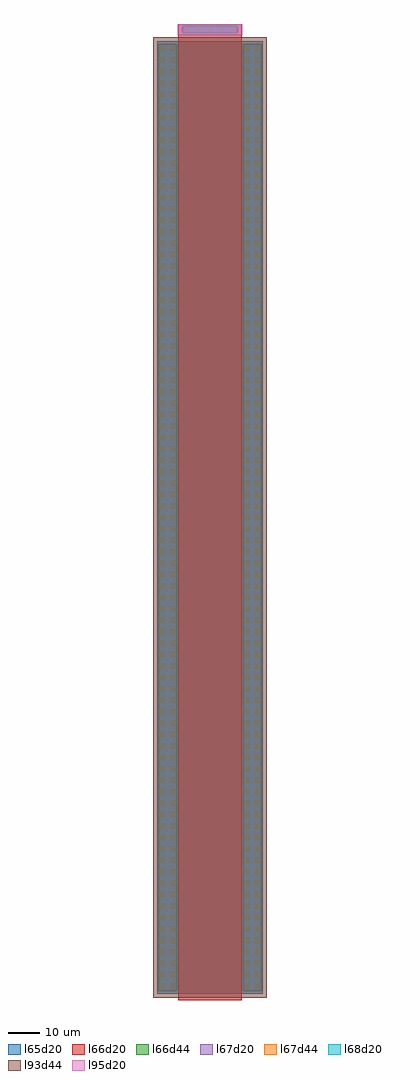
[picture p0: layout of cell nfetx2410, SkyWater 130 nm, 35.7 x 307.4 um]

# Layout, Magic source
magic
tech sky130a
<< l66d20 >>
rect 660 -200 2660 30200
rect 660 30200 2660 30530
<< l66d44 >>
rect 65 15275 235 15445
rect 425 15275 595 15445
rect 2725 15275 2895 15445
rect 3085 15275 3255 15445
rect 65 22835 235 23005
rect 425 22835 595 23005
rect 2725 22835 2895 23005
rect 3085 22835 3255 23005
rect 65 24275 235 24445
rect 65 24635 235 24805
rect 65 24995 235 25165
rect 65 25355 235 25525
rect 65 25715 235 25885
rect 65 26075 235 26245
rect 65 26435 235 26605
rect 65 26795 235 26965
rect 65 27155 235 27325
rect 65 27515 235 27685
rect 65 27875 235 28045
rect 65 28235 235 28405
rect 65 28595 235 28765
rect 65 28955 235 29125
rect 65 29315 235 29485
rect 65 29675 235 29845
rect 65 23195 235 23365
rect 425 23195 595 23365
rect 425 23555 595 23725
rect 425 23915 595 24085
rect 425 24275 595 24445
rect 425 24635 595 24805
rect 425 24995 595 25165
rect 425 25355 595 25525
rect 425 25715 595 25885
rect 425 26075 595 26245
rect 425 26435 595 26605
rect 425 26795 595 26965
rect 425 27155 595 27325
rect 425 27515 595 27685
rect 425 27875 595 28045
rect 425 28235 595 28405
rect 425 28595 595 28765
rect 425 28955 595 29125
rect 425 29315 595 29485
rect 425 29675 595 29845
rect 65 23555 235 23725
rect 2725 23195 2895 23365
rect 2725 23555 2895 23725
rect 2725 23915 2895 24085
rect 2725 24275 2895 24445
rect 2725 24635 2895 24805
rect 2725 24995 2895 25165
rect 2725 25355 2895 25525
rect 2725 25715 2895 25885
rect 2725 26075 2895 26245
rect 2725 26435 2895 26605
rect 2725 26795 2895 26965
rect 2725 27155 2895 27325
rect 2725 27515 2895 27685
rect 2725 27875 2895 28045
rect 2725 28235 2895 28405
rect 2725 28595 2895 28765
rect 2725 28955 2895 29125
rect 2725 29315 2895 29485
rect 2725 29675 2895 29845
rect 65 23915 235 24085
rect 3085 23195 3255 23365
rect 3085 23555 3255 23725
rect 3085 23915 3255 24085
rect 3085 24275 3255 24445
rect 3085 24635 3255 24805
rect 3085 24995 3255 25165
rect 3085 25355 3255 25525
rect 3085 25715 3255 25885
rect 3085 26075 3255 26245
rect 3085 26435 3255 26605
rect 3085 26795 3255 26965
rect 3085 27155 3255 27325
rect 3085 27515 3255 27685
rect 3085 27875 3255 28045
rect 3085 28235 3255 28405
rect 3085 28595 3255 28765
rect 3085 28955 3255 29125
rect 3085 29315 3255 29485
rect 3085 29675 3255 29845
rect 855 30280 1025 30450
rect 1215 30280 1385 30450
rect 1575 30280 1745 30450
rect 1935 30280 2105 30450
rect 2295 30280 2465 30450
rect 2725 17795 2895 17965
rect 2725 18155 2895 18325
rect 2725 18515 2895 18685
rect 2725 18875 2895 19045
rect 2725 19235 2895 19405
rect 2725 19595 2895 19765
rect 2725 19955 2895 20125
rect 2725 20315 2895 20485
rect 2725 20675 2895 20845
rect 2725 21035 2895 21205
rect 2725 21395 2895 21565
rect 2725 21755 2895 21925
rect 2725 22115 2895 22285
rect 2725 22475 2895 22645
rect 425 16355 595 16525
rect 425 16715 595 16885
rect 425 17075 595 17245
rect 425 17435 595 17605
rect 425 17795 595 17965
rect 425 18155 595 18325
rect 425 18515 595 18685
rect 425 18875 595 19045
rect 425 19235 595 19405
rect 425 19595 595 19765
rect 425 19955 595 20125
rect 425 20315 595 20485
rect 425 20675 595 20845
rect 425 21035 595 21205
rect 425 21395 595 21565
rect 425 21755 595 21925
rect 425 22115 595 22285
rect 425 22475 595 22645
rect 65 17795 235 17965
rect 65 18155 235 18325
rect 65 16355 235 16525
rect 3085 15635 3255 15805
rect 3085 15995 3255 16165
rect 3085 16355 3255 16525
rect 3085 16715 3255 16885
rect 3085 17075 3255 17245
rect 3085 17435 3255 17605
rect 3085 17795 3255 17965
rect 3085 18155 3255 18325
rect 3085 18515 3255 18685
rect 3085 18875 3255 19045
rect 3085 19235 3255 19405
rect 3085 19595 3255 19765
rect 3085 19955 3255 20125
rect 3085 20315 3255 20485
rect 3085 20675 3255 20845
rect 3085 21035 3255 21205
rect 3085 21395 3255 21565
rect 3085 21755 3255 21925
rect 3085 22115 3255 22285
rect 3085 22475 3255 22645
rect 65 18515 235 18685
rect 65 18875 235 19045
rect 65 19235 235 19405
rect 65 19595 235 19765
rect 65 19955 235 20125
rect 65 20315 235 20485
rect 65 20675 235 20845
rect 65 21035 235 21205
rect 65 21395 235 21565
rect 65 21755 235 21925
rect 65 22115 235 22285
rect 65 22475 235 22645
rect 65 16715 235 16885
rect 65 17075 235 17245
rect 65 17435 235 17605
rect 65 15635 235 15805
rect 425 15635 595 15805
rect 425 15995 595 16165
rect 65 15995 235 16165
rect 2725 15635 2895 15805
rect 2725 15995 2895 16165
rect 2725 16355 2895 16525
rect 2725 16715 2895 16885
rect 2725 17075 2895 17245
rect 2725 17435 2895 17605
rect 2725 7715 2895 7885
rect 425 7715 595 7885
rect 3085 7715 3255 7885
rect 65 7715 235 7885
rect 2725 9155 2895 9325
rect 2725 9515 2895 9685
rect 2725 9875 2895 10045
rect 2725 10235 2895 10405
rect 2725 10595 2895 10765
rect 2725 10955 2895 11125
rect 2725 11315 2895 11485
rect 2725 11675 2895 11845
rect 2725 12035 2895 12205
rect 2725 12395 2895 12565
rect 2725 12755 2895 12925
rect 2725 13115 2895 13285
rect 2725 13475 2895 13645
rect 2725 13835 2895 14005
rect 2725 14195 2895 14365
rect 2725 14555 2895 14725
rect 2725 14915 2895 15085
rect 65 14555 235 14725
rect 2725 8075 2895 8245
rect 425 8075 595 8245
rect 425 8435 595 8605
rect 425 8795 595 8965
rect 425 9155 595 9325
rect 425 9515 595 9685
rect 425 9875 595 10045
rect 425 10235 595 10405
rect 425 10595 595 10765
rect 425 10955 595 11125
rect 425 11315 595 11485
rect 425 11675 595 11845
rect 425 12035 595 12205
rect 425 12395 595 12565
rect 425 12755 595 12925
rect 425 13115 595 13285
rect 425 13475 595 13645
rect 425 13835 595 14005
rect 425 14195 595 14365
rect 2725 8435 2895 8605
rect 3085 8075 3255 8245
rect 3085 8435 3255 8605
rect 3085 8795 3255 8965
rect 3085 9155 3255 9325
rect 3085 9515 3255 9685
rect 3085 9875 3255 10045
rect 3085 10235 3255 10405
rect 3085 10595 3255 10765
rect 3085 10955 3255 11125
rect 3085 11315 3255 11485
rect 3085 11675 3255 11845
rect 3085 12035 3255 12205
rect 3085 12395 3255 12565
rect 3085 12755 3255 12925
rect 3085 13115 3255 13285
rect 3085 13475 3255 13645
rect 3085 13835 3255 14005
rect 3085 14195 3255 14365
rect 3085 14555 3255 14725
rect 3085 14915 3255 15085
rect 425 14555 595 14725
rect 425 14915 595 15085
rect 65 14915 235 15085
rect 2725 8795 2895 8965
rect 65 8075 235 8245
rect 65 8435 235 8605
rect 65 8795 235 8965
rect 65 9155 235 9325
rect 65 9515 235 9685
rect 65 9875 235 10045
rect 65 10235 235 10405
rect 65 10595 235 10765
rect 65 10955 235 11125
rect 65 11315 235 11485
rect 65 11675 235 11845
rect 65 12035 235 12205
rect 65 12395 235 12565
rect 65 12755 235 12925
rect 65 13115 235 13285
rect 65 13475 235 13645
rect 65 13835 235 14005
rect 65 14195 235 14365
rect 3085 1595 3255 1765
rect 3085 1955 3255 2125
rect 3085 2315 3255 2485
rect 3085 2675 3255 2845
rect 3085 3035 3255 3205
rect 3085 3395 3255 3565
rect 3085 3755 3255 3925
rect 3085 4115 3255 4285
rect 3085 4475 3255 4645
rect 3085 4835 3255 5005
rect 3085 5195 3255 5365
rect 3085 5555 3255 5725
rect 3085 5915 3255 6085
rect 3085 6275 3255 6445
rect 3085 6635 3255 6805
rect 3085 6995 3255 7165
rect 3085 7355 3255 7525
rect 425 515 595 685
rect 425 875 595 1045
rect 425 1235 595 1405
rect 425 1595 595 1765
rect 425 1955 595 2125
rect 425 2315 595 2485
rect 425 2675 595 2845
rect 425 3035 595 3205
rect 425 3395 595 3565
rect 425 3755 595 3925
rect 425 4115 595 4285
rect 425 4475 595 4645
rect 425 4835 595 5005
rect 425 5195 595 5365
rect 425 5555 595 5725
rect 425 5915 595 6085
rect 425 6275 595 6445
rect 425 6635 595 6805
rect 425 6995 595 7165
rect 425 7355 595 7525
rect 2725 2675 2895 2845
rect 2725 3035 2895 3205
rect 2725 3395 2895 3565
rect 2725 3755 2895 3925
rect 65 155 235 325
rect 65 515 235 685
rect 65 875 235 1045
rect 65 1235 235 1405
rect 65 1595 235 1765
rect 65 1955 235 2125
rect 65 2315 235 2485
rect 65 2675 235 2845
rect 65 3035 235 3205
rect 65 3395 235 3565
rect 65 3755 235 3925
rect 65 4115 235 4285
rect 65 4475 235 4645
rect 65 4835 235 5005
rect 65 5195 235 5365
rect 65 5555 235 5725
rect 65 5915 235 6085
rect 65 6275 235 6445
rect 65 6635 235 6805
rect 65 6995 235 7165
rect 65 7355 235 7525
rect 2725 4115 2895 4285
rect 2725 4475 2895 4645
rect 2725 4835 2895 5005
rect 2725 5195 2895 5365
rect 2725 5555 2895 5725
rect 2725 5915 2895 6085
rect 2725 6275 2895 6445
rect 2725 6635 2895 6805
rect 2725 6995 2895 7165
rect 2725 7355 2895 7525
rect 2725 1235 2895 1405
rect 2725 1595 2895 1765
rect 2725 1955 2895 2125
rect 2725 2315 2895 2485
rect 425 155 595 325
rect 3085 155 3255 325
rect 3085 515 3255 685
rect 3085 875 3255 1045
rect 3085 1235 3255 1405
rect 2725 155 2895 325
rect 2725 515 2895 685
rect 2725 875 2895 1045
<< l67d44 >>
rect 65 15275 235 15445
rect 425 15275 595 15445
rect 2725 15275 2895 15445
rect 3085 15275 3255 15445
rect 65 22835 235 23005
rect 425 22835 595 23005
rect 2725 22835 2895 23005
rect 3085 22835 3255 23005
rect 65 24275 235 24445
rect 65 24635 235 24805
rect 65 24995 235 25165
rect 65 25355 235 25525
rect 65 25715 235 25885
rect 65 26075 235 26245
rect 65 26435 235 26605
rect 65 26795 235 26965
rect 65 27155 235 27325
rect 65 27515 235 27685
rect 65 27875 235 28045
rect 65 28235 235 28405
rect 65 28595 235 28765
rect 65 28955 235 29125
rect 65 29315 235 29485
rect 65 29675 235 29845
rect 65 23195 235 23365
rect 425 23195 595 23365
rect 425 23555 595 23725
rect 425 23915 595 24085
rect 425 24275 595 24445
rect 425 24635 595 24805
rect 425 24995 595 25165
rect 425 25355 595 25525
rect 425 25715 595 25885
rect 425 26075 595 26245
rect 425 26435 595 26605
rect 425 26795 595 26965
rect 425 27155 595 27325
rect 425 27515 595 27685
rect 425 27875 595 28045
rect 425 28235 595 28405
rect 425 28595 595 28765
rect 425 28955 595 29125
rect 425 29315 595 29485
rect 425 29675 595 29845
rect 65 23555 235 23725
rect 2725 23195 2895 23365
rect 2725 23555 2895 23725
rect 2725 23915 2895 24085
rect 2725 24275 2895 24445
rect 2725 24635 2895 24805
rect 2725 24995 2895 25165
rect 2725 25355 2895 25525
rect 2725 25715 2895 25885
rect 2725 26075 2895 26245
rect 2725 26435 2895 26605
rect 2725 26795 2895 26965
rect 2725 27155 2895 27325
rect 2725 27515 2895 27685
rect 2725 27875 2895 28045
rect 2725 28235 2895 28405
rect 2725 28595 2895 28765
rect 2725 28955 2895 29125
rect 2725 29315 2895 29485
rect 2725 29675 2895 29845
rect 65 23915 235 24085
rect 3085 23195 3255 23365
rect 3085 23555 3255 23725
rect 3085 23915 3255 24085
rect 3085 24275 3255 24445
rect 3085 24635 3255 24805
rect 3085 24995 3255 25165
rect 3085 25355 3255 25525
rect 3085 25715 3255 25885
rect 3085 26075 3255 26245
rect 3085 26435 3255 26605
rect 3085 26795 3255 26965
rect 3085 27155 3255 27325
rect 3085 27515 3255 27685
rect 3085 27875 3255 28045
rect 3085 28235 3255 28405
rect 3085 28595 3255 28765
rect 3085 28955 3255 29125
rect 3085 29315 3255 29485
rect 3085 29675 3255 29845
rect 855 30280 1025 30450
rect 1215 30280 1385 30450
rect 1575 30280 1745 30450
rect 1935 30280 2105 30450
rect 2295 30280 2465 30450
rect 2725 17795 2895 17965
rect 2725 18155 2895 18325
rect 2725 18515 2895 18685
rect 2725 18875 2895 19045
rect 2725 19235 2895 19405
rect 2725 19595 2895 19765
rect 2725 19955 2895 20125
rect 2725 20315 2895 20485
rect 2725 20675 2895 20845
rect 2725 21035 2895 21205
rect 2725 21395 2895 21565
rect 2725 21755 2895 21925
rect 2725 22115 2895 22285
rect 2725 22475 2895 22645
rect 425 16355 595 16525
rect 425 16715 595 16885
rect 425 17075 595 17245
rect 425 17435 595 17605
rect 425 17795 595 17965
rect 425 18155 595 18325
rect 425 18515 595 18685
rect 425 18875 595 19045
rect 425 19235 595 19405
rect 425 19595 595 19765
rect 425 19955 595 20125
rect 425 20315 595 20485
rect 425 20675 595 20845
rect 425 21035 595 21205
rect 425 21395 595 21565
rect 425 21755 595 21925
rect 425 22115 595 22285
rect 425 22475 595 22645
rect 65 17795 235 17965
rect 65 18155 235 18325
rect 65 16355 235 16525
rect 3085 15635 3255 15805
rect 3085 15995 3255 16165
rect 3085 16355 3255 16525
rect 3085 16715 3255 16885
rect 3085 17075 3255 17245
rect 3085 17435 3255 17605
rect 3085 17795 3255 17965
rect 3085 18155 3255 18325
rect 3085 18515 3255 18685
rect 3085 18875 3255 19045
rect 3085 19235 3255 19405
rect 3085 19595 3255 19765
rect 3085 19955 3255 20125
rect 3085 20315 3255 20485
rect 3085 20675 3255 20845
rect 3085 21035 3255 21205
rect 3085 21395 3255 21565
rect 3085 21755 3255 21925
rect 3085 22115 3255 22285
rect 3085 22475 3255 22645
rect 65 18515 235 18685
rect 65 18875 235 19045
rect 65 19235 235 19405
rect 65 19595 235 19765
rect 65 19955 235 20125
rect 65 20315 235 20485
rect 65 20675 235 20845
rect 65 21035 235 21205
rect 65 21395 235 21565
rect 65 21755 235 21925
rect 65 22115 235 22285
rect 65 22475 235 22645
rect 65 16715 235 16885
rect 65 17075 235 17245
rect 65 17435 235 17605
rect 65 15635 235 15805
rect 425 15635 595 15805
rect 425 15995 595 16165
rect 65 15995 235 16165
rect 2725 15635 2895 15805
rect 2725 15995 2895 16165
rect 2725 16355 2895 16525
rect 2725 16715 2895 16885
rect 2725 17075 2895 17245
rect 2725 17435 2895 17605
rect 2725 7715 2895 7885
rect 425 7715 595 7885
rect 3085 7715 3255 7885
rect 65 7715 235 7885
rect 2725 9155 2895 9325
rect 2725 9515 2895 9685
rect 2725 9875 2895 10045
rect 2725 10235 2895 10405
rect 2725 10595 2895 10765
rect 2725 10955 2895 11125
rect 2725 11315 2895 11485
rect 2725 11675 2895 11845
rect 2725 12035 2895 12205
rect 2725 12395 2895 12565
rect 2725 12755 2895 12925
rect 2725 13115 2895 13285
rect 2725 13475 2895 13645
rect 2725 13835 2895 14005
rect 2725 14195 2895 14365
rect 2725 14555 2895 14725
rect 2725 14915 2895 15085
rect 65 14555 235 14725
rect 2725 8075 2895 8245
rect 425 8075 595 8245
rect 425 8435 595 8605
rect 425 8795 595 8965
rect 425 9155 595 9325
rect 425 9515 595 9685
rect 425 9875 595 10045
rect 425 10235 595 10405
rect 425 10595 595 10765
rect 425 10955 595 11125
rect 425 11315 595 11485
rect 425 11675 595 11845
rect 425 12035 595 12205
rect 425 12395 595 12565
rect 425 12755 595 12925
rect 425 13115 595 13285
rect 425 13475 595 13645
rect 425 13835 595 14005
rect 425 14195 595 14365
rect 2725 8435 2895 8605
rect 3085 8075 3255 8245
rect 3085 8435 3255 8605
rect 3085 8795 3255 8965
rect 3085 9155 3255 9325
rect 3085 9515 3255 9685
rect 3085 9875 3255 10045
rect 3085 10235 3255 10405
rect 3085 10595 3255 10765
rect 3085 10955 3255 11125
rect 3085 11315 3255 11485
rect 3085 11675 3255 11845
rect 3085 12035 3255 12205
rect 3085 12395 3255 12565
rect 3085 12755 3255 12925
rect 3085 13115 3255 13285
rect 3085 13475 3255 13645
rect 3085 13835 3255 14005
rect 3085 14195 3255 14365
rect 3085 14555 3255 14725
rect 3085 14915 3255 15085
rect 425 14555 595 14725
rect 425 14915 595 15085
rect 65 14915 235 15085
rect 2725 8795 2895 8965
rect 65 8075 235 8245
rect 65 8435 235 8605
rect 65 8795 235 8965
rect 65 9155 235 9325
rect 65 9515 235 9685
rect 65 9875 235 10045
rect 65 10235 235 10405
rect 65 10595 235 10765
rect 65 10955 235 11125
rect 65 11315 235 11485
rect 65 11675 235 11845
rect 65 12035 235 12205
rect 65 12395 235 12565
rect 65 12755 235 12925
rect 65 13115 235 13285
rect 65 13475 235 13645
rect 65 13835 235 14005
rect 65 14195 235 14365
rect 3085 1595 3255 1765
rect 3085 1955 3255 2125
rect 3085 2315 3255 2485
rect 3085 2675 3255 2845
rect 3085 3035 3255 3205
rect 3085 3395 3255 3565
rect 3085 3755 3255 3925
rect 3085 4115 3255 4285
rect 3085 4475 3255 4645
rect 3085 4835 3255 5005
rect 3085 5195 3255 5365
rect 3085 5555 3255 5725
rect 3085 5915 3255 6085
rect 3085 6275 3255 6445
rect 3085 6635 3255 6805
rect 3085 6995 3255 7165
rect 3085 7355 3255 7525
rect 425 515 595 685
rect 425 875 595 1045
rect 425 1235 595 1405
rect 425 1595 595 1765
rect 425 1955 595 2125
rect 425 2315 595 2485
rect 425 2675 595 2845
rect 425 3035 595 3205
rect 425 3395 595 3565
rect 425 3755 595 3925
rect 425 4115 595 4285
rect 425 4475 595 4645
rect 425 4835 595 5005
rect 425 5195 595 5365
rect 425 5555 595 5725
rect 425 5915 595 6085
rect 425 6275 595 6445
rect 425 6635 595 6805
rect 425 6995 595 7165
rect 425 7355 595 7525
rect 2725 2675 2895 2845
rect 2725 3035 2895 3205
rect 2725 3395 2895 3565
rect 2725 3755 2895 3925
rect 65 155 235 325
rect 65 515 235 685
rect 65 875 235 1045
rect 65 1235 235 1405
rect 65 1595 235 1765
rect 65 1955 235 2125
rect 65 2315 235 2485
rect 65 2675 235 2845
rect 65 3035 235 3205
rect 65 3395 235 3565
rect 65 3755 235 3925
rect 65 4115 235 4285
rect 65 4475 235 4645
rect 65 4835 235 5005
rect 65 5195 235 5365
rect 65 5555 235 5725
rect 65 5915 235 6085
rect 65 6275 235 6445
rect 65 6635 235 6805
rect 65 6995 235 7165
rect 65 7355 235 7525
rect 2725 4115 2895 4285
rect 2725 4475 2895 4645
rect 2725 4835 2895 5005
rect 2725 5195 2895 5365
rect 2725 5555 2895 5725
rect 2725 5915 2895 6085
rect 2725 6275 2895 6445
rect 2725 6635 2895 6805
rect 2725 6995 2895 7165
rect 2725 7355 2895 7525
rect 2725 1235 2895 1405
rect 2725 1595 2895 1765
rect 2725 1955 2895 2125
rect 2725 2315 2895 2485
rect 425 155 595 325
rect 3085 155 3255 325
rect 3085 515 3255 685
rect 3085 875 3255 1045
rect 3085 1235 3255 1405
rect 2725 155 2895 325
rect 2725 515 2895 685
rect 2725 875 2895 1045
<< l95d20 >>
rect 650 30190 2670 30540
<< l67d20 >>
rect 65 75 595 29925
rect 2725 75 3255 29925
rect 775 30280 2545 30450
<< l68d20 >>
rect 35 95 625 29905
rect 2695 95 3285 29905
rect 795 30250 2525 30480
<< l65d20 >>
rect 0 0 3320 30000
<< l93d44 >>
rect -125 -125 3445 30125
<< end >>
